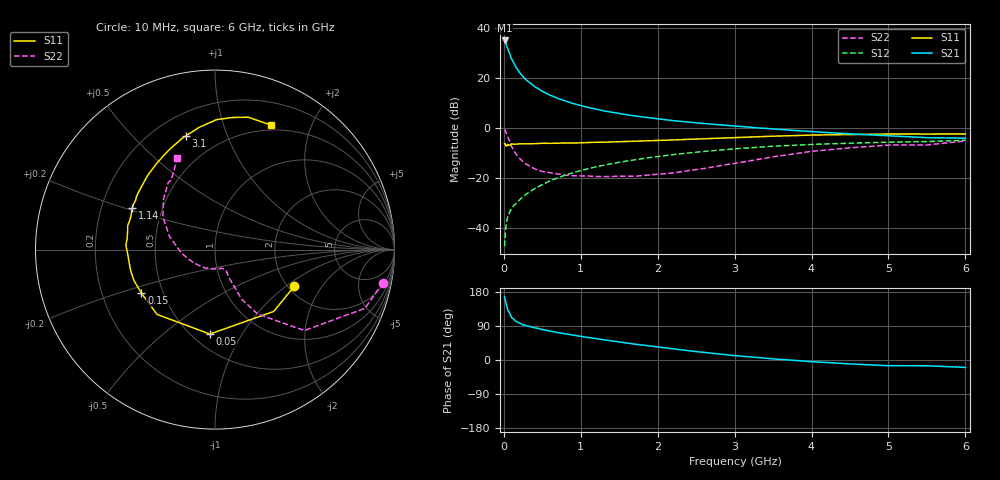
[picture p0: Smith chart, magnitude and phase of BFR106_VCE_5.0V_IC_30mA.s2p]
! Infineon Technologies  Discrete & RF Semiconductors
! BFR106
! VCE =  5.0 V,  IC =  30 mA
! Common Emitter S-Parameters:  Nov 2015
# GHz  S  MA  R  50
!  f  S11  S21  S12  S22
! GHz  MAG  ANG  MAG  ANG  MAG  ANG  MAG  ANG
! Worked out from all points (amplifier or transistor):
!   210 points, 10 MHz to 6 GHz, reference 50 ohm
!   highest |S21| = 35.1 dB at 10 MHz (marker M1)
!   |S21| within 3 dB of that: start of sweep to 46.04 MHz
!   unconditionally stable (mu >= 1): 323.6 MHz to 2.209 GHz
!   at 185 MHz: K = 0.85, MSG = 26.2 dB, |S12| = -29.3 dB
!   at 1.52 GHz: K = 1.05, MAG = 8.4 dB, |S12| = -13.6 dB
!   at 6 GHz: K = 0.99, MSG = 0.4 dB, |S12| = -4.9 dB
!   S11 on the Smith chart (normalised r, x): 10 MHz: 2.17, -1.15; 50 MHz: 0.61, -0.74; 150 MHz: 0.38, -0.24; 1.14 GHz: 0.34, +0.21; 3.1 GHz: 0.33, +0.72; 6 GHz: 0.44, +1.45
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0.01  0.487 -24.6  56.95 166.5  0.0043 82.2  0.9543 -11.1
0.02  0.4751 -46.5  53.01 155.6  0.0084 74.2  0.897 -21.4
0.05  0.4714 -93.5  38.95 131.4  0.0169 60.7  0.6711 -42.2
0.1  0.4843 -131.8  24.41 112.3  0.0244 57.4  0.4296 -56.5
0.15  0.4763 -149.5  17.15 102.6  0.0301 58.7  0.3127 -61.8
0.2  0.4829 -158.6  13.21 97.1  0.0359 61.9  0.2502 -62.3
0.24  0.4837 -164.3  11.14 93.7  0.0408 63.5  0.2166 -62.8
0.26  0.4842 -166.7  10.29 92.2  0.0433 64.2  0.2037 -63.0
0.3  0.4837 -170.5  8.934 89.8  0.0484 65.7  0.1855 -63.3
0.4  0.4872 -177.5  6.781 84.8  0.061 68.1  0.1523 -62.5
0.5  0.4972 177.2  5.443 80.3  0.0737 68.8  0.1355 -62.2
0.6  0.4933 172.3  4.569 76.2  0.0873 69.1  0.1272 -63.2
0.7  0.4974 168.1  3.946 72.4  0.1006 68.9  0.1204 -65.8
0.8  0.5045 164.7  3.467 69.0  0.1141 68.1  0.114 -67.8
1.02  0.5074 156.7  2.768 61.8  0.1433 66.5  0.1102 -74.1
1.14  0.5166 153.0  2.502 58.1  0.1592 65.3  0.1083 -79.5
1.6  0.5377 139.8  1.844 44.6  0.2191 59.7  0.1085 -101.7
2.02  0.5655 128.9  1.516 33.7  0.2713 54.0  0.1193 -126.6
3.1  0.6536 104.5  1.065 10.0  0.3926 38.1  0.2078 177.4
4.1  0.727 87.9  0.831 -5.5  0.4767 23.0  0.3525 145.2
5.1  0.7592 74.8  0.689 -15.1  0.5253 9.8  0.4565 124.2
6  0.7613 65.9  0.627 -19.5  0.5709 -0.3  0.5499 112.4
